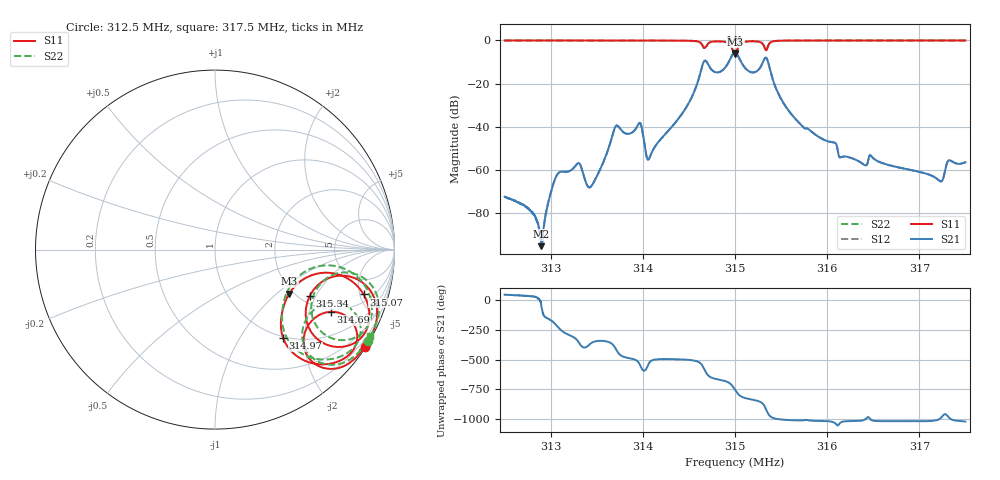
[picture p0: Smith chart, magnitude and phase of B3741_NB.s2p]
! Matrix data file written by TouchstoneData, EPCOS AG
! FILENAME: "B3741_SB.s2p"
! COMMENT: "PINNIG 1/4; PORTEX1 93PS; PORTEX2 179.5PS; 2"
! INFO: nport=2, nfreq=1601
! DATE: "Wed Sep 19 15:41:01 2012"
! USER: "Wilfried Schott"
! port | pin | signal
!  1  |  1  |  IN
!  2  |  4  |  OUT
# MHZ S MA R 50
! freq  magS11 angS11  magS21 angS21  magS12 angS12  magS22 angS22
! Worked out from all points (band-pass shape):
!   1601 points, 312.5 MHz to 317.5 MHz, reference 50 ohm
!   highest |S21| = -5.74 dB at 315 MHz (marker M1); lowest = -95.4 dB at 312.9 MHz (marker M2)
!   |S21| within 3 dB of the highest: 314.9471 MHz to 315.0512 MHz (104.1 kHz wide, 0.033 % of centre); 315.3172 MHz to 315.3487 MHz (31.41 kHz wide, 0.00996 % of centre)
!   lowest |S11| = -6.4 dB at 315 MHz (marker M3), VSWR 2.85, Z = 95.3 - j60.7 ohm
!   |S11| at or under -10 dB: nowhere
!   |S22| runs from -6.7 to -0.1 dB; largest |S21 - S12| = 0.0019
!   S11 on the Smith chart (normalised r, x): 312.5 MHz: 0.03, -3.36; 314.69 MHz: 1.89, -2.81; 314.97 MHz: 0.97, -1.57; 315.07 MHz: 2.74, -5.43; 315.34 MHz: 2.26, -1.78; 317.5 MHz: 0.04, -3.55
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312.5  0.9947 -33.1  0.0002391 48.2  0.0002368 49.9  0.991 -30.9
312.9  0.9943 -33.4  1.7e-05 -56.0  2.425e-05 -45.3  0.9907 -31.2
313.0813  0.9934 -33.6  0.0008353 134.0  0.000833 133.9  0.9898 -31.3
313.3344  0.9925 -33.8  0.001096 -25.4  0.00109 -25.3  0.9892 -31.6
313.4438  0.9935 -34.0  0.0004264 2.4  0.0004253 2.3  0.9897 -31.8
313.7156  0.9845 -34.3  0.01067 -61.7  0.01061 -61.6  0.98 -32.0
313.9688  0.9833 -35.0  0.01228 175.6  0.01221 175.6  0.9786 -32.8
314.0594  0.9918 -35.0  0.001712 -179.5  0.001707 -179.4  0.988 -32.8
314.1687  0.9921 -35.7  0.004438 -135.8  0.004406 -135.7  0.9882 -33.4
314.6875  0.732 -28.2  0.3307 109.8  0.3293 109.8  0.7097 -24.6
314.825  0.9513 -37.2  0.1832 52.5  0.1824 52.5  0.9473 -34.6
314.9719  0.6229 -52.4  0.4659 -1.5  0.4645 -1.5  0.6208 -50.6
315  0.4809 -30.6  0.5156 -32.1  0.5141 -32.1  0.4645 -28.8
315.0031  0.4844 -26.9  0.5163 -35.8  0.5148 -35.8  0.4666 -24.8
315.0688  0.8648 -16.8  0.3097 -90.7  0.3081 -90.7  0.8602 -13.6
315.3375  0.5876 -26.0  0.3959 160.4  0.3945 160.4  0.6047 -23.5
315.5312  0.9876 -25.1  0.03387 73.7  0.03369 73.8  0.9847 -22.8
315.8344  0.9937 -28.6  0.007509 65.6  0.007469 65.7  0.9904 -26.3
316.6687  0.9949 -30.7  0.001289 61.7  0.001279 61.7  0.9914 -28.4
317.2281  0.9947 -31.3  0.0005482 85.1  0.000542 84.9  0.9911 -28.9
317.3219  0.9942 -31.3  0.001668 92.1  0.001658 92.3  0.9906 -29.0
317.5  0.9948 -31.5  0.001493 58.5  0.00148 58.4  0.9912 -29.1
